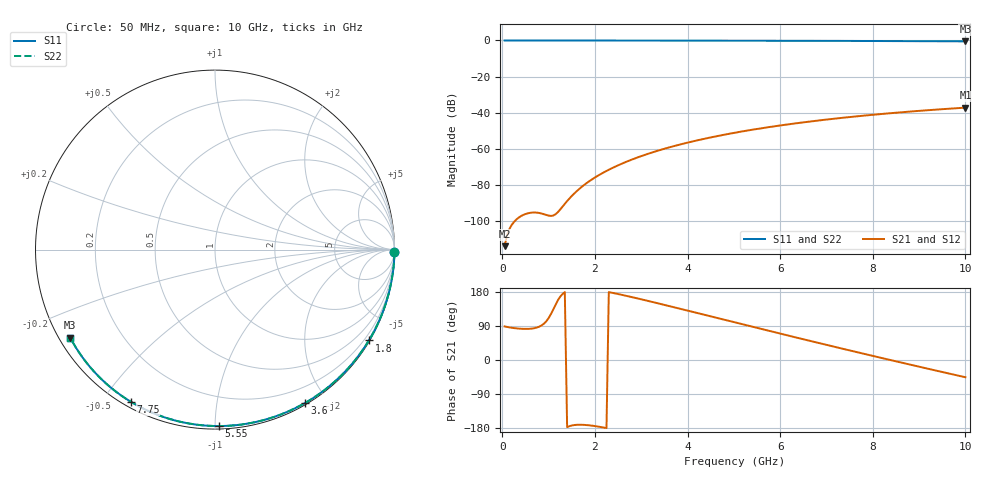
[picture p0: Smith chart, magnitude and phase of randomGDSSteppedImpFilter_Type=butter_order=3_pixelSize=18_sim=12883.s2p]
! freq	dB(S11)	phase(S11)	dB(S12)	phase(S12)
!  dB(S21)	phase(S21)	dB(S22)	phase(S22)
!S-par simulation data
#  GHz  S  DB  R 50
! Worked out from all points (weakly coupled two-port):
!   200 points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, 50 MHz to 10 GHz, reference 50 ohm
!   highest |S21| = -37.25 dB at 10 GHz (marker M1); lowest = -114.1 dB at 50 MHz (marker M2)
!   lowest |S11| = -0.5 dB at 10 GHz (marker M3), VSWR 34.74, Z = 1.55 - j14 ohm
!   |S11| at or under -10 dB: nowhere
!   |S22| runs from -0.5 to 0.0 dB; largest |S21 - S12| = 0
!   S11 on the Smith chart (normalised r, x): 50 MHz: open; 1.8 GHz: 0.03, -3.66; 3.6 GHz: 0.02, -1.75; 5.55 GHz: 0.02, -1.02; 7.75 GHz: 0.02, -0.59; 10 GHz: 0.03, -0.28
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0.05  -0.00 -0.9  -114.07 88.6  -114.07 88.6  -0.00 -0.9
0.45  -0.01 -7.8  -96.79 82.2  -96.79 82.2  -0.01 -7.8
0.9  -0.02 -15.4  -96.35 95.9  -96.35 95.9  -0.02 -15.4
1.3  -0.03 -22.2  -92.16 174.0  -92.16 174.0  -0.03 -22.2
1.75  -0.04 -29.7  -80.47 -171.1  -80.47 -171.1  -0.04 -29.7
1.8  -0.04 -30.6  -79.49 -171.5  -79.49 -171.5  -0.04 -30.6
1.95  -0.04 -33.1  -76.82 -173.5  -76.82 -173.5  -0.04 -33.1
2.1  -0.05 -35.5  -74.47 -176.3  -74.47 -176.3  -0.05 -35.5
2.3  -0.05 -38.8  -71.69 179.2  -71.69 179.2  -0.05 -38.8
2.5  -0.05 -42.1  -69.24 174.1  -69.24 174.1  -0.05 -42.1
2.9  -0.06 -48.5  -65.06 163.1  -65.06 163.1  -0.06 -48.5
3.4  -0.07 -56.5  -60.80 148.5  -60.80 148.5  -0.07 -56.5
3.6  -0.08 -59.6  -59.32 142.5  -59.32 142.5  -0.08 -59.6
4.3  -0.10 -70.3  -54.87 121.3  -54.87 121.3  -0.10 -70.3
5.05  -0.12 -81.5  -51.04 98.4  -51.04 98.4  -0.12 -81.5
5.55  -0.14 -88.7  -48.87 83.2  -48.87 83.2  -0.14 -88.7
6.1  -0.17 -96.5  -46.78 66.7  -46.78 66.7  -0.17 -96.5
6.7  -0.20 -104.8  -44.78 48.8  -44.78 48.8  -0.20 -104.8
7.75  -0.27 -119.0  -41.83 18.0  -41.83 18.0  -0.27 -119.0
8.35  -0.32 -126.9  -40.41 0.8  -40.41 0.8  -0.32 -126.9
9.2  -0.41 -138.1  -38.65 -23.3  -38.65 -23.3  -0.41 -138.1
10  -0.50 -148.7  -37.25 -45.5  -37.25 -45.5  -0.50 -148.7
